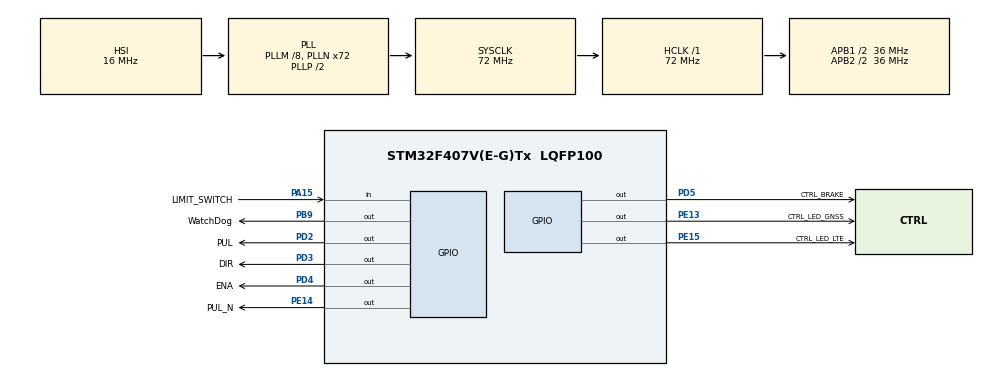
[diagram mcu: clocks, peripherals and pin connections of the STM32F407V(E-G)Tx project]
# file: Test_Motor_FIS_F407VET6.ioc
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Mcu.Family=STM32F4
Mcu.Name=STM32F407V(E-G)Tx
Mcu.Package=LQFP100
NVIC.PriorityGroup=NVIC_PRIORITYGROUP_4
NVIC.TIM1_UP_TIM10_IRQn=true\:0\:0\:false\:false\:true\:true\:true\:true
NVIC.TIM2_IRQn=true\:0\:0\:false\:false\:true\:true\:true\:true
PA13.Mode=Serial_Wire
PA13.Signal=SYS_JTMS-SWDIO
PA14.Mode=Serial_Wire
PA14.Signal=SYS_JTCK-SWCLK
PA15.GPIO_Label=LIMIT_SWITCH
PA15.GPIO_PuPd=GPIO_NOPULL
PA15.Signal=GPIO_Input
PB9.GPIO_Label=WatchDog
PB9.Signal=GPIO_Output
PC14-OSC32_IN.Mode=LSE-External-Oscillator
PC14-OSC32_IN.Signal=RCC_OSC32_IN
PC15-OSC32_OUT.Mode=LSE-External-Oscillator
PC15-OSC32_OUT.Signal=RCC_OSC32_OUT
PD2.GPIO_Label=PUL
PD2.PinState=GPIO_PIN_SET
PD2.Signal=GPIO_Output
PD3.GPIO_Label=DIR
PD3.Signal=GPIO_Output
PD4.GPIO_Label=ENA
PD4.Signal=GPIO_Output
PD5.GPIO_Label=CTRL_BRAKE
PD5.Signal=GPIO_Output
PE13.GPIO_Label=CTRL_LED_GNSS
PE13.Signal=GPIO_Output
PE14.GPIO_Label=PUL_N
PE14.PinState=GPIO_PIN_SET
PE14.Signal=GPIO_Output
PE15.GPIO_Label=CTRL_LED_LTE
PE15.Signal=GPIO_Output
ProjectManager.HeapSize=0x200
ProjectManager.StackSize=0x400
ProjectManager.TargetToolchain=MDK-ARM V5.32
RCC.48MHZClocksFreq_Value=36000000
RCC.AHBFreq_Value=72000000
RCC.APB1CLKDivider=RCC_HCLK_DIV2
RCC.APB1Freq_Value=36000000
RCC.APB1TimFreq_Value=72000000
RCC.APB2CLKDivider=RCC_HCLK_DIV2
RCC.APB2Freq_Value=36000000
RCC.APB2TimFreq_Value=72000000
RCC.CortexFreq_Value=72000000
RCC.HCLKFreq_Value=72000000
RCC.HSE_VALUE=25000000
RCC.HSI_VALUE=16000000
RCC.PLLM=8
RCC.PLLN=72
RCC.SYSCLKFreq_VALUE=72000000
RCC.SYSCLKSource=RCC_SYSCLKSOURCE_PLLCLK
RCC.VCOOutputFreq_Value=144000000
TIM1.Period=999
TIM1.Prescaler=72-1
TIM2.Period=9
TIM2.Prescaler=72-1
VP_TIM1_VS_ClockSourceINT.Mode=Internal
VP_TIM2_VS_ClockSourceINT.Mode=Internal
board=custom

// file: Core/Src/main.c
/* USER CODE BEGIN Header */
/**
  ******************************************************************************
  * @file           : main.c
  * @brief          : Main program body
  ******************************************************************************
  * @attention
  *
  * Copyright (c) 2024 STMicroelectronics.
  * All rights reserved.
  *
  * This software is licensed under terms that can be found in the LICENSE file
  * in the root directory of this software component.
  * If no LICENSE file comes with this software, it is provided AS-IS.
  *
  ******************************************************************************
  */
/* USER CODE END Header */
#include "main.h"

/* USER CODE BEGIN Includes */
	#include "stdbool.h"
	#include "stepper.h"

/* USER CODE END Includes */

TIM_HandleTypeDef htim1;
TIM_HandleTypeDef htim2;

/* USER CODE BEGIN PV */
//	uint16_t flag_10us = 0;
//
	uint32_t time_tick_ms = 0;

	uint16_t cnt_flag_led0 = 0;
	uint16_t cnt_flag_led1 = 0;
	uint16_t time_blink_led0 = 500;
	uint16_t time_blink_led1 = 1000;
//
	uint32_t start_time = 0;
	uint32_t interval = 0;

	uint16_t period = 100;
	uint32_t PulseCurrent = 0;
	int32_t PulseTarget = 11111111;

	bool flag_startPul = true;
	uint8_t getCTHT = 1, setSP = 0, vSPpos = I;

	uint8_t nhaphanh = 1;
	uint8_t ena_flag = 0x00;
	uint8_t set_dir = 0;

	uint8_t flag_delay = 0;
	uint8_t an = 1;
	uint8_t result = 0;

	uint32_t __s = 0, __e = 0, __i = 0;

	uint32_t cnt_debug = 0, cnt_whileTrue = 0;
	uint32_t cnt_CTHT = 0;

		// FLASH variables
	float FLASH_degree_I = 3.0f;
	float FLASH_degree_II = 39.5f;
	float FLASH_degree_III = 75.2f;
	float FLASH_degree_IV = 111.2f;
	float FLASH_degree_V = 147.1f;
	uint8_t FLASH_previous_position = III;
	float FLASH_speed = 1.0f;				// rpm

	// BLUETOOTH variables
	float BLT_degree = 0;
	uint8_t BLT_Pos_set = 0;

	// MCU variables
	float MCU_degree_I = 0;
	float MCU_degree_II = 0;
	float MCU_degree_III = 0;
	float MCU_degree_IV = 0;
	float MCU_degree_V = 0;
	uint8_t MCU_previous_position = 0;
	float MCU_speed_needle = 0;				// rpm

	uint8_t MCU_command_toSetDegree = 0;
	uint8_t MCU_command_toZero = 0;
	uint8_t MCU_command_toRUNFREE = 0;
	uint8_t MCU_command_toConfirm = 0;
	uint8_t MCU_command_toAutoRun = 0;
	uint8_t MCU_command_toChangeLevel = 0;

	uint8_t hh = 0;

	uint8_t run = 3;

/* USER CODE END PV */

void SystemClock_Config(void);
static void MX_GPIO_Init(void);
static void MX_TIM1_Init(void);
static void MX_TIM2_Init(void);

/* USER CODE BEGIN 0 */
	uint32_t getMicroSecond(void){
			return time_tick_ms*1000 + __HAL_TIM_GetCounter(&htim1);
		}

	void HAL_TIM_PeriodElapsedCallback(TIM_HandleTypeDef *htim)
		{
			UNUSED(htim);
			//--------------------------------------------------------
			if (htim->Instance == htim1.Instance){ 	// every 1ms
				time_tick_ms++;
				cnt_flag_led0++;

//				if(hh == 1){
//					HAL_GPIO_TogglePin(PUL_GPIO_Port, PUL_Pin);
//				}
			}
			//--------------------------------------------------------
			if (htim->Instance == htim2.Instance){ 	// every 10us
//				interval = getMicroSecond() - start_time;
//				start_time = getMicroSecond();
				cnt_flag_led1++;

			}
		}

/* USER CODE END 0 */

int main(void)
{

  /* MCU Configuration--------------------------------------------------------*/

  /* Reset of all peripherals, Initializes the Flash interface and the Systick. */
  HAL_Init();

  /* Configure the system clock */
  SystemClock_Config();

  /* Initialize all configured peripherals */
  MX_GPIO_Init();
  MX_TIM1_Init();
  MX_TIM2_Init();
  /* USER CODE BEGIN 2 */

	/*Get parameter from flash here*/
		MCU_degree_I = FLASH_degree_I;
		MCU_degree_I = FLASH_degree_I;
		MCU_degree_I = FLASH_degree_I;
		MCU_degree_I = FLASH_degree_I;
		MCU_degree_I = FLASH_degree_I;
		MCU_previous_position = FLASH_previous_position;
		MCU_speed_needle = FLASH_speed;

		/*Init the parameter*/
		Motor_Init(&vMotor, 25600, MCU_speed_needle, 20, MCU_previous_position);
		Degree_Setup(&vMotor, FLASH_degree_I, FLASH_degree_II, FLASH_degree_III, FLASH_degree_IV, FLASH_degree_V);

		Brake_CLOSE();
		Disable_Motor();

		/*Start timer irq*/
		HAL_TIM_Base_Start_IT(&htim1);
		HAL_TIM_Base_Start_IT(&htim2);

  /* USER CODE END 2 */

  /* Infinite loop */
  while (1)
  {

    /* USER CODE BEGIN 3 */

	//---------------------------------------------------------------------------
		if(cnt_flag_led0 >= time_blink_led0){
			cnt_flag_led0 = 0;
			HAL_GPIO_TogglePin(CTRL_LED_GNSS_GPIO_Port, CTRL_LED_GNSS_Pin);
			HAL_GPIO_TogglePin(WatchDog_GPIO_Port, WatchDog_Pin);
		}

		if(cnt_flag_led1 >= time_blink_led1){
			cnt_flag_led1 = 0;
			HAL_GPIO_TogglePin(CTRL_LED_LTE_GPIO_Port, CTRL_LED_LTE_Pin);
		}

	//---------------------------------------------------------------------------
		if(nhaphanh == 1){
			Brake_OPEN();
		}
		else{
			Brake_CLOSE();
		}
//		if(ena_flag == 1){
//			Enable_Motor();
//		}
//		else{
//			Disable_Motor();
//		}

	//---------------------------------------------------------------------------
		if(run == 0){
			cnt_whileTrue++;
			getCTHT = HAL_GPIO_ReadPin(LIMIT_SWITCH_GPIO_Port, LIMIT_SWITCH_Pin);
			if(getCTHT == 0){
 				//cnt_debug++;
			}
		}
		if(run == 1){
			hh = 1;
			if(set_dir == 1){
				SetMotorDir(CW);
			}
			else{
				SetMotorDir(CCW);
			}

			Enable_Motor();
			getCTHT = HAL_GPIO_ReadPin(LIMIT_SWITCH_GPIO_Port, LIMIT_SWITCH_Pin);
			if(getCTHT == 0){
				cnt_CTHT++;
			}
			else{
				cnt_CTHT = 0;
			}
			if(!getCTHT && set_dir == 0 && cnt_CTHT >=100){				//
 				run = 0;
				cnt_debug++;
				PulseCurrent = 0;
				cnt_CTHT = 0;
			}

			//HAL_GPIO_WritePin(PUL_GPIO_Port, PUL_Pin, GPIO_PIN_RESET);
			// phat xung dong co
			if(flag_startPul){
				start_time = getMicroSecond();
				flag_startPul = false;
			}
			else{
				interval = getMicroSecond() - start_time;
				if(interval <= period/3){
					HAL_GPIO_WritePin(PUL_GPIO_Port, PUL_Pin, GPIO_PIN_SET);
				}
				else{
					if(interval <= period){
						HAL_GPIO_WritePin(PUL_GPIO_Port, PUL_Pin, GPIO_PIN_RESET);
					}
					else{
						flag_startPul = true;
						/*Hoan thanh 1 xung*/
						PulseCurrent++;
						start_time = 0;
						interval = 0;
					}
				}
			}

		}
	//---------------------------------------------------------------------------
		if(run == 3){
			if(MCU_command_toSetDegree == 1){
				MCU_command_toSetDegree = 0;
				Command_toSetDegree(&vMotor, BLT_Pos_set, BLT_degree);
			}

			if(MCU_command_toZero == 1){
				MCU_command_toZero = 0;
				Command_toZERO(&vMotor);
			}

			if(MCU_command_toRUNFREE == 1){
				MCU_command_toRUNFREE = 0;
				Command_toRUNFREE(&vMotor, PulseTarget);
			}

			if(MCU_command_toConfirm == 1){
				MCU_command_toConfirm = 0;
				Command_toConfirm(&vMotor);
			}

			if(MCU_command_toAutoRun == 1){
				MCU_command_toAutoRun = 0;
				Command_toAutoRun(&vMotor);
			}
			if(MCU_command_toChangeLevel == 1){
				MCU_command_toChangeLevel = 0;
				Command_toChangeLevel(&vMotor, vSPpos);
			}
			if(setSP == 1){
				SetTargetPos(&vMotor, vSPpos);
				setSP = 0;
			}

			Process_Motor(&vMotor);
		}
	//---------------------------------------------------------------------------
		if(run == 4){
			Process_Motor(&vMotor);
			if(flag_delay == 0){
				if(an){
					an = 0;
					Command_toZERO(&vMotor);
				}
				if(result == 1){
					result = 0;
					flag_delay = 1;
					if(++MCU_command_toZero > 5){
						MCU_command_toZero = 1;

					}
					an = 1;
				}
			}
			else if(flag_delay == 1){
				if(MCU_command_toZero == 1){
					if(an){
						an = 0;
						Command_toRUNFREE(&vMotor, vMotor.num_Pul_I);
					}
				}
				else if(MCU_command_toZero == 2){
					if(an){
						an = 0;
						Command_toRUNFREE(&vMotor, vMotor.num_Pul_II);
					}
				}
				else if(MCU_command_toZero == 3){
					if(an){
						an = 0;
						Command_toRUNFREE(&vMotor, vMotor.num_Pul_III);
					}
				}
				else if(MCU_command_toZero == 4){
					if(an){
						an = 0;
						Command_toRUNFREE(&vMotor, vMotor.num_Pul_IV);
					}
				}
				else if(MCU_command_toZero == 5){
					if(an){
						an = 0;
						Command_toRUNFREE(&vMotor, vMotor.num_Pul_V);
					}
				}

				if(result == 2){
					flag_delay = 2;
					result = 0;
				}
			}
			else if(flag_delay == 2){
				flag_delay = 3;
				start_time = getMicroSecond();
			}
			else if(flag_delay == 3){
				if((getMicroSecond() - start_time) >= 2000000){
					flag_delay = 0;
					an = 1;

				}
			}
		}

	//---------------------------------------------------------------------------
  }
  /* USER CODE END 3 */
}

void SystemClock_Config(void)
{
  RCC_OscInitTypeDef RCC_OscInitStruct = {0};
  RCC_ClkInitTypeDef RCC_ClkInitStruct = {0};

  /** Configure the main internal regulator output voltage
  */
  __HAL_RCC_PWR_CLK_ENABLE();
  __HAL_PWR_VOLTAGESCALING_CONFIG(PWR_REGULATOR_VOLTAGE_SCALE1);

  /** Initializes the RCC Oscillators according to the specified parameters
  * in the RCC_OscInitTypeDef structure.
  */
  RCC_OscInitStruct.OscillatorType = RCC_OSCILLATORTYPE_HSI;
  RCC_OscInitStruct.HSIState = RCC_HSI_ON;
  RCC_OscInitStruct.HSICalibrationValue = RCC_HSICALIBRATION_DEFAULT;
  RCC_OscInitStruct.PLL.PLLState = RCC_PLL_ON;
  RCC_OscInitStruct.PLL.PLLSource = RCC_PLLSOURCE_HSI;
  RCC_OscInitStruct.PLL.PLLM = 8;
  RCC_OscInitStruct.PLL.PLLN = 72;
  RCC_OscInitStruct.PLL.PLLP = RCC_PLLP_DIV2;
  RCC_OscInitStruct.PLL.PLLQ = 4;
  if (HAL_RCC_OscConfig(&RCC_OscInitStruct) != HAL_OK)
  {
    Error_Handler();
  }

  /** Initializes the CPU, AHB and APB buses clocks
  */
  RCC_ClkInitStruct.ClockType = RCC_CLOCKTYPE_HCLK|RCC_CLOCKTYPE_SYSCLK
                              |RCC_CLOCKTYPE_PCLK1|RCC_CLOCKTYPE_PCLK2;
  RCC_ClkInitStruct.SYSCLKSource = RCC_SYSCLKSOURCE_PLLCLK;
  RCC_ClkInitStruct.AHBCLKDivider = RCC_SYSCLK_DIV1;
  RCC_ClkInitStruct.APB1CLKDivider = RCC_HCLK_DIV2;
  RCC_ClkInitStruct.APB2CLKDivider = RCC_HCLK_DIV2;

  if (HAL_RCC_ClockConfig(&RCC_ClkInitStruct, FLASH_LATENCY_2) != HAL_OK)
  {
    Error_Handler();
  }
}

static void MX_TIM1_Init(void)
{

  TIM_ClockConfigTypeDef sClockSourceConfig = {0};
  TIM_MasterConfigTypeDef sMasterConfig = {0};

  htim1.Instance = TIM1;
  htim1.Init.Prescaler = 72-1;
  htim1.Init.CounterMode = TIM_COUNTERMODE_UP;
  htim1.Init.Period = 999;
  htim1.Init.ClockDivision = TIM_CLOCKDIVISION_DIV1;
  htim1.Init.RepetitionCounter = 0;
  htim1.Init.AutoReloadPreload = TIM_AUTORELOAD_PRELOAD_DISABLE;
  if (HAL_TIM_Base_Init(&htim1) != HAL_OK)
  {
    Error_Handler();
  }
  sClockSourceConfig.ClockSource = TIM_CLOCKSOURCE_INTERNAL;
  if (HAL_TIM_ConfigClockSource(&htim1, &sClockSourceConfig) != HAL_OK)
  {
    Error_Handler();
  }
  sMasterConfig.MasterOutputTrigger = TIM_TRGO_RESET;
  sMasterConfig.MasterSlaveMode = TIM_MASTERSLAVEMODE_DISABLE;
  if (HAL_TIMEx_MasterConfigSynchronization(&htim1, &sMasterConfig) != HAL_OK)
  {
    Error_Handler();
  }

}

static void MX_TIM2_Init(void)
{

  TIM_ClockConfigTypeDef sClockSourceConfig = {0};
  TIM_MasterConfigTypeDef sMasterConfig = {0};

  htim2.Instance = TIM2;
  htim2.Init.Prescaler = 72-1;
  htim2.Init.CounterMode = TIM_COUNTERMODE_UP;
  htim2.Init.Period = 9;
  htim2.Init.ClockDivision = TIM_CLOCKDIVISION_DIV1;
  htim2.Init.AutoReloadPreload = TIM_AUTORELOAD_PRELOAD_DISABLE;
  if (HAL_TIM_Base_Init(&htim2) != HAL_OK)
  {
    Error_Handler();
  }
  sClockSourceConfig.ClockSource = TIM_CLOCKSOURCE_INTERNAL;
  if (HAL_TIM_ConfigClockSource(&htim2, &sClockSourceConfig) != HAL_OK)
  {
    Error_Handler();
  }
  sMasterConfig.MasterOutputTrigger = TIM_TRGO_RESET;
  sMasterConfig.MasterSlaveMode = TIM_MASTERSLAVEMODE_DISABLE;
  if (HAL_TIMEx_MasterConfigSynchronization(&htim2, &sMasterConfig) != HAL_OK)
  {
    Error_Handler();
  }

}

static void MX_GPIO_Init(void)
{
  GPIO_InitTypeDef GPIO_InitStruct = {0};

  /* GPIO Ports Clock Enable */
  __HAL_RCC_GPIOC_CLK_ENABLE();
  __HAL_RCC_GPIOE_CLK_ENABLE();
  __HAL_RCC_GPIOA_CLK_ENABLE();
  __HAL_RCC_GPIOD_CLK_ENABLE();
  __HAL_RCC_GPIOB_CLK_ENABLE();

  /*Configure GPIO pin Output Level */
  HAL_GPIO_WritePin(GPIOE, CTRL_LED_GNSS_Pin|CTRL_LED_LTE_Pin, GPIO_PIN_RESET);

  /*Configure GPIO pin Output Level */
  HAL_GPIO_WritePin(PUL_N_GPIO_Port, PUL_N_Pin, GPIO_PIN_SET);

  /*Configure GPIO pin Output Level */
  HAL_GPIO_WritePin(PUL_GPIO_Port, PUL_Pin, GPIO_PIN_SET);

  /*Configure GPIO pin Output Level */
  HAL_GPIO_WritePin(GPIOD, DIR_Pin|ENA_Pin|CTRL_BRAKE_Pin, GPIO_PIN_RESET);

  /*Configure GPIO pin Output Level */
  HAL_GPIO_WritePin(WatchDog_GPIO_Port, WatchDog_Pin, GPIO_PIN_RESET);

  /*Configure GPIO pins : CTRL_LED_GNSS_Pin PUL_N_Pin CTRL_LED_LTE_Pin */
  GPIO_InitStruct.Pin = CTRL_LED_GNSS_Pin|PUL_N_Pin|CTRL_LED_LTE_Pin;
  GPIO_InitStruct.Mode = GPIO_MODE_OUTPUT_PP;
  GPIO_InitStruct.Pull = GPIO_NOPULL;
  GPIO_InitStruct.Speed = GPIO_SPEED_FREQ_LOW;
  HAL_GPIO_Init(GPIOE, &GPIO_InitStruct);

  /*Configure GPIO pin : LIMIT_SWITCH_Pin */
  GPIO_InitStruct.Pin = LIMIT_SWITCH_Pin;
  GPIO_InitStruct.Mode = GPIO_MODE_INPUT;
  GPIO_InitStruct.Pull = GPIO_NOPULL;
  HAL_GPIO_Init(LIMIT_SWITCH_GPIO_Port, &GPIO_InitStruct);

  /*Configure GPIO pins : PUL_Pin DIR_Pin ENA_Pin CTRL_BRAKE_Pin */
  GPIO_InitStruct.Pin = PUL_Pin|DIR_Pin|ENA_Pin|CTRL_BRAKE_Pin;
  GPIO_InitStruct.Mode = GPIO_MODE_OUTPUT_PP;
  GPIO_InitStruct.Pull = GPIO_NOPULL;
  GPIO_InitStruct.Speed = GPIO_SPEED_FREQ_LOW;
  HAL_GPIO_Init(GPIOD, &GPIO_InitStruct);

  /*Configure GPIO pin : WatchDog_Pin */
  GPIO_InitStruct.Pin = WatchDog_Pin;
  GPIO_InitStruct.Mode = GPIO_MODE_OUTPUT_PP;
  GPIO_InitStruct.Pull = GPIO_NOPULL;
  GPIO_InitStruct.Speed = GPIO_SPEED_FREQ_LOW;
  HAL_GPIO_Init(WatchDog_GPIO_Port, &GPIO_InitStruct);

}

void Error_Handler(void)
{
  __disable_irq();
  while (1)
  {
  }
}
